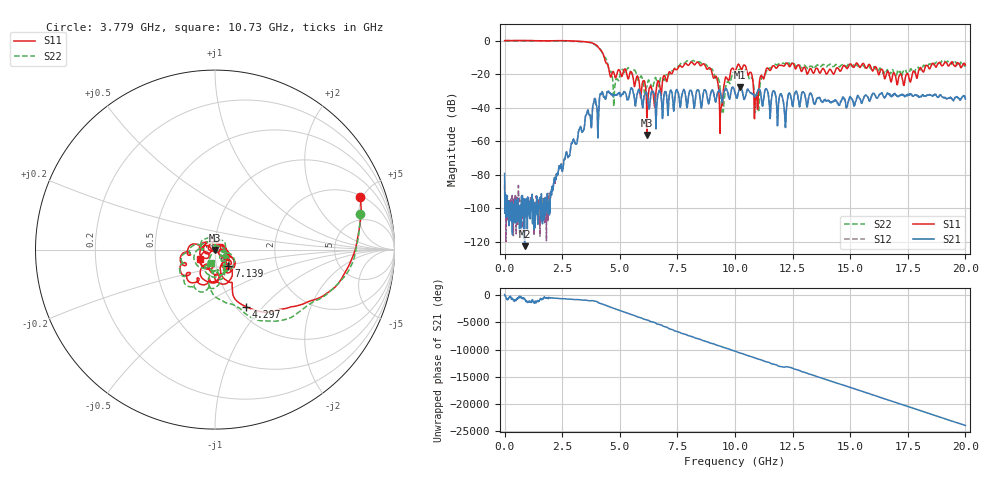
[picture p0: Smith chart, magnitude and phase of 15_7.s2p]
#  HZ  S  RI  R  50.00
! Rohde & Schwarz Vector Network Analyzer
! Rohde-Schwarz,ZNB20-2Port,1311601062102128,3.60
! Created: UTC 4/29/2024, 2:58:03 PM
! freq[Hz]  re:S11  im:S11  re:S21  im:S21  re:S12  im:S12  re:S22  im:S22
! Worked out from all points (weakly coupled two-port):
!   2007 points, 100 kHz to 20 GHz, reference 50 ohm
!   highest |S21| = -27.65 dB at 10.23 GHz (marker M1); lowest = -122.6 dB at 867.5 MHz (marker M2)
!   lowest |S11| = -56.2 dB at 6.182 GHz (marker M3), VSWR 1.00, Z = 50 - j0.154 ohm
!   |S11| at or under -10 dB: 4.326 GHz to end of sweep
!   |S22| runs from -43.0 to 0.1 dB; largest |S21 - S12| = 0.0021
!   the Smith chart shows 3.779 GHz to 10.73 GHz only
!   S11 on the Smith chart (normalised r, x): 3.779 GHz: 2.08, +4.77; 4.297 GHz: 1.11, -0.81; 7.139 GHz: 1.14, -0.21; 10.73 GHz: 0.84, -0.09
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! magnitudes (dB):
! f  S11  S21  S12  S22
! 100 kHz  0.0  -79.2  -85.8  0.1
! 867.5 MHz  0.1  -122.6  -105.5  0.0
! 2.243 GHz  0.0  -79.9  -79.5  -0.3
! 3.34 GHz  -0.6  -53.8  -53.6  -0.6
! 3.779 GHz  -1.3  -49.8  -50.0  -1.6
! 4.297 GHz  -8.8  -33.6  -33.7  -9.0
! 4.776 GHz  -20.7  -32.4  -32.4  -28.7
! 5.354 GHz  -22.8  -35.3  -35.2  -16.3
! 6.182 GHz  -56.2  -32.1  -32.1  -27.3
! 6.67 GHz  -23.9  -31.2  -31.3  -27.2
! 7.139 GHz  -18.7  -34.0  -33.9  -20.3
! 8.644 GHz  -13.9  -30.2  -30.1  -14.3
! 9.183 GHz  -21.4  -35.6  -35.6  -22.5
! 9.392 GHz  -40.2  -32.7  -32.7  -34.2
! 10 GHz  -18.7  -31.3  -31.3  -19.3
! 10.23 GHz  -15.9  -27.7  -27.6  -16.8
! 10.73 GHz  -20.1  -31.4  -31.4  -22.3
! 10.92 GHz  -33.5  -32.4  -32.4  -34.2
! 11.42 GHz  -16.4  -30.2  -30.2  -16.8
! 13.34 GHz  -18.0  -32.7  -32.7  -15.3
! 16.67 GHz  -19.1  -31.8  -31.8  -20.5
! 20 GHz  -14.6  -34.8  -34.9  -14.4
